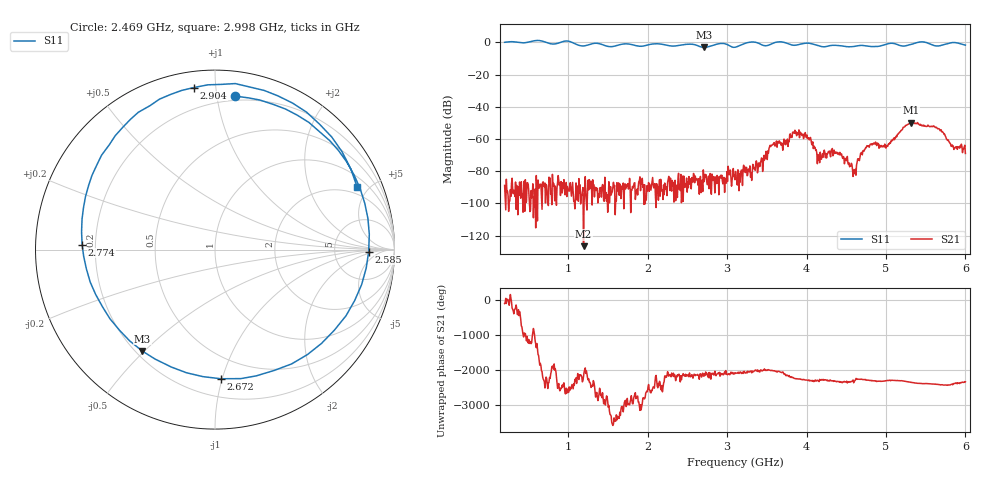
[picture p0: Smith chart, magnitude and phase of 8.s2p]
! NanoVNA-App by OneOfEleven et al v1.1.209 (+OD15)
! Date: 2024-07-30 15:09:56
! Start: 200MHz Stop: 6GHz Points: 801
! S-Parameter data: F S11 S21 S12 S22
# Hz S RI R 50
!  Frequency  S11_Real  S11_Imag  S21_Real  S21_Imag  S12_Real  S12_Imag  S22_Real  S22_Imag
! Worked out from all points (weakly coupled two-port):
!   801 points, 200 MHz to 6 GHz, reference 50 ohm
!   highest |S21| = -49.80 dB at 5.311 GHz (marker M1); lowest = -126.6 dB at 1.193 GHz (marker M2)
!   lowest |S11| = -3.2 dB at 2.708 GHz (marker M3), VSWR 5.56, Z = 11.3 - j24.7 ohm
!   |S11| at or under -10 dB: nowhere
!   S12 and S22 are empty: the file has one direction only
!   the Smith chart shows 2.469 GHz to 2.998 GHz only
!   S11 on the Smith chart (normalised r, x): 2.469 GHz: 0.17, +1.13; 2.585 GHz: 13, -1; 2.672 GHz: 0.33, -0.99; 2.774 GHz: 0.15, +0.02; 2.904 GHz: 0.08, +0.88; 2.998 GHz: 1.51, +4.22
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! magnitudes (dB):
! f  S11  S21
! 200 MHz  0.1  -88.8
! 1.171 GHz  -2.2  -95.0
! 1.193 GHz  -2.2  -126.6
! 2.136 GHz  -0.9  -98.0
! 2.469 GHz  -1.3  -90.1
! 2.585 GHz  -1.3  -82.8
! 2.672 GHz  -2.8  -93.3
! 2.708 GHz  -3.2  -86.6
! 2.774 GHz  -2.6  -90.9
! 2.904 GHz  -0.8  -83.6
! 2.998 GHz  -1.3  -80.2
! 3.1 GHz  -3.0  -85.3
! 3.325 GHz  0.3  -75.8
! 3.854 GHz  -1.8  -54.6
! 4.072 GHz  -1.0  -63.7
! 4.166 GHz  -2.3  -74.7
! 4.34 GHz  -1.8  -68.4
! 4.601 GHz  -2.5  -81.6
! 4.775 GHz  -2.4  -64.4
! 5.036 GHz  -0.7  -62.9
! 5.311 GHz  -1.3  -49.8
! 6 GHz  -1.7  -69.0
